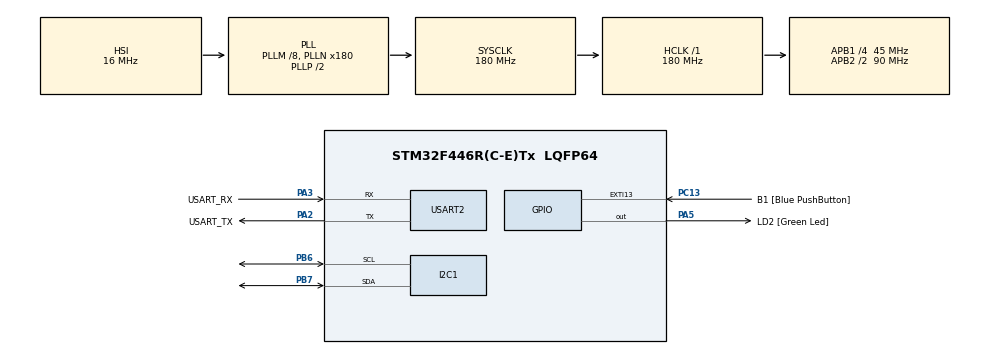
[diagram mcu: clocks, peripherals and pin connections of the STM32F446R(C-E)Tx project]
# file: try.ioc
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Mcu.Family=STM32F4
Mcu.Name=STM32F446R(C-E)Tx
Mcu.Package=LQFP64
NVIC.PriorityGroup=NVIC_PRIORITYGROUP_0
PA13.GPIO_Label=TMS
PA13.Mode=Serial_Wire
PA13.Signal=SYS_JTMS-SWDIO
PA14.GPIO_Label=TCK
PA14.Mode=Serial_Wire
PA14.Signal=SYS_JTCK-SWCLK
PA2.GPIO_Label=USART_TX
PA2.Mode=Asynchronous
PA2.Signal=USART2_TX
PA3.GPIO_Label=USART_RX
PA3.Mode=Asynchronous
PA3.Signal=USART2_RX
PA5.GPIO_Label=LD2 [Green Led]
PA5.Signal=GPIO_Output
PB3.GPIO_Label=SWO
PB3.Signal=SYS_JTDO-SWO
PB6.Mode=I2C
PB6.Signal=I2C1_SCL
PB7.Mode=I2C
PB7.Signal=I2C1_SDA
PC13.GPIO_Label=B1 [Blue PushButton]
PC13.GPIO_ModeDefaultEXTI=GPIO_MODE_IT_FALLING
PC13.Signal=GPXTI13
PC14-OSC32_IN.Mode=LSE-External-Oscillator
PC14-OSC32_IN.Signal=RCC_OSC32_IN
PC15-OSC32_OUT.Mode=LSE-External-Oscillator
PC15-OSC32_OUT.Signal=RCC_OSC32_OUT
PH0-OSC_IN.Mode=HSE-External-Oscillator
PH0-OSC_IN.Signal=RCC_OSC_IN
PH1-OSC_OUT.Mode=HSE-External-Oscillator
PH1-OSC_OUT.Signal=RCC_OSC_OUT
ProjectManager.HeapSize=0x200
ProjectManager.StackSize=0x400
ProjectManager.TargetToolchain=STM32CubeIDE
RCC.48MHZClocksFreq_Value=84000000
RCC.AHBFreq_Value=180000000
RCC.APB1CLKDivider=RCC_HCLK_DIV4
RCC.APB1Freq_Value=45000000
RCC.APB1TimFreq_Value=90000000
RCC.APB2CLKDivider=RCC_HCLK_DIV2
RCC.APB2Freq_Value=90000000
RCC.APB2TimFreq_Value=180000000
RCC.CortexFreq_Value=180000000
RCC.FLatency-AdvancedSettings=FLASH_LATENCY_5
RCC.HCLKFreq_Value=180000000
RCC.HSE_VALUE=8000000
RCC.HSI_VALUE=16000000
RCC.PLLM=8
RCC.PLLN=180
RCC.SYSCLKFreq_VALUE=180000000
RCC.SYSCLKSource=RCC_SYSCLKSOURCE_PLLCLK
RCC.USBFreq_Value=180000000
RCC.VCOOutputFreq_Value=360000000
USART2.VirtualMode=VM_ASYNC
board=NUCLEO-F446RE

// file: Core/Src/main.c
/* USER CODE BEGIN Header */
/**
  ******************************************************************************
  * @file           : main.c
  * @brief          : Main program body
  ******************************************************************************
  * @attention
  *
  * Copyright (c) 2024 STMicroelectronics.
  * All rights reserved.
  *
  * This software is licensed under terms that can be found in the LICENSE file
  * in the root directory of this software component.
  * If no LICENSE file comes with this software, it is provided AS-IS.
  *
  ******************************************************************************
  */
/* USER CODE END Header */
#include "main.h"

/* USER CODE BEGIN PD */
#define  DS3231_ADDRESS 0x68<<1
/* USER CODE END PD */

I2C_HandleTypeDef hi2c1;

UART_HandleTypeDef huart2;

void SystemClock_Config(void);
static void MX_GPIO_Init(void);
static void MX_USART2_UART_Init(void);
static void MX_I2C1_Init(void);
/* USER CODE BEGIN PFP */

uint8_t BCD2DEC(uint8_t val);
uint8_t DEC2BCD(uint8_t val);
void DS3231_GetTime(uint8_t* hour, uint8_t* minute, uint8_t* second);
uint8_t hour, minute, second;

/* USER CODE END PFP */

int main(void)
{

  /* MCU Configuration--------------------------------------------------------*/

  /* Reset of all peripherals, Initializes the Flash interface and the Systick. */
  HAL_Init();

  /* Configure the system clock */
  SystemClock_Config();

  /* Initialize all configured peripherals */
  MX_GPIO_Init();
  MX_USART2_UART_Init();
  MX_I2C1_Init();
  /* USER CODE BEGIN 2 */

  DS3231_GetTime(&hour, &minute, &second);
  HAL_Delay(1000);  // Delay for 1 second
  /* USER CODE END 2 */

  /* Infinite loop */
  while (1)
  {

    /* USER CODE BEGIN 3 */
	  HAL_GPIO_TogglePin(LD2_GPIO_Port, LD2_Pin);
	  HAL_Delay(200);
  }
  /* USER CODE END 3 */
}

void SystemClock_Config(void)
{
  RCC_OscInitTypeDef RCC_OscInitStruct = {0};
  RCC_ClkInitTypeDef RCC_ClkInitStruct = {0};

  /** Configure the main internal regulator output voltage
  */
  __HAL_RCC_PWR_CLK_ENABLE();
  __HAL_PWR_VOLTAGESCALING_CONFIG(PWR_REGULATOR_VOLTAGE_SCALE1);

  /** Initializes the RCC Oscillators according to the specified parameters
  * in the RCC_OscInitTypeDef structure.
  */
  RCC_OscInitStruct.OscillatorType = RCC_OSCILLATORTYPE_HSI;
  RCC_OscInitStruct.HSIState = RCC_HSI_ON;
  RCC_OscInitStruct.HSICalibrationValue = RCC_HSICALIBRATION_DEFAULT;
  RCC_OscInitStruct.PLL.PLLState = RCC_PLL_ON;
  RCC_OscInitStruct.PLL.PLLSource = RCC_PLLSOURCE_HSI;
  RCC_OscInitStruct.PLL.PLLM = 8;
  RCC_OscInitStruct.PLL.PLLN = 180;
  RCC_OscInitStruct.PLL.PLLP = RCC_PLLP_DIV2;
  RCC_OscInitStruct.PLL.PLLQ = 2;
  RCC_OscInitStruct.PLL.PLLR = 2;
  if (HAL_RCC_OscConfig(&RCC_OscInitStruct) != HAL_OK)
  {
    Error_Handler();
  }

  /** Activate the Over-Drive mode
  */
  if (HAL_PWREx_EnableOverDrive() != HAL_OK)
  {
    Error_Handler();
  }

  /** Initializes the CPU, AHB and APB buses clocks
  */
  RCC_ClkInitStruct.ClockType = RCC_CLOCKTYPE_HCLK|RCC_CLOCKTYPE_SYSCLK
                              |RCC_CLOCKTYPE_PCLK1|RCC_CLOCKTYPE_PCLK2;
  RCC_ClkInitStruct.SYSCLKSource = RCC_SYSCLKSOURCE_PLLCLK;
  RCC_ClkInitStruct.AHBCLKDivider = RCC_SYSCLK_DIV1;
  RCC_ClkInitStruct.APB1CLKDivider = RCC_HCLK_DIV4;
  RCC_ClkInitStruct.APB2CLKDivider = RCC_HCLK_DIV2;

  if (HAL_RCC_ClockConfig(&RCC_ClkInitStruct, FLASH_LATENCY_5) != HAL_OK)
  {
    Error_Handler();
  }
}

static void MX_I2C1_Init(void)
{

  hi2c1.Instance = I2C1;
  hi2c1.Init.ClockSpeed = 100000;
  hi2c1.Init.DutyCycle = I2C_DUTYCYCLE_2;
  hi2c1.Init.OwnAddress1 = 0;
  hi2c1.Init.AddressingMode = I2C_ADDRESSINGMODE_7BIT;
  hi2c1.Init.DualAddressMode = I2C_DUALADDRESS_DISABLE;
  hi2c1.Init.OwnAddress2 = 0;
  hi2c1.Init.GeneralCallMode = I2C_GENERALCALL_DISABLE;
  hi2c1.Init.NoStretchMode = I2C_NOSTRETCH_DISABLE;
  if (HAL_I2C_Init(&hi2c1) != HAL_OK)
  {
    Error_Handler();
  }

}

static void MX_USART2_UART_Init(void)
{

  huart2.Instance = USART2;
  huart2.Init.BaudRate = 115200;
  huart2.Init.WordLength = UART_WORDLENGTH_8B;
  huart2.Init.StopBits = UART_STOPBITS_1;
  huart2.Init.Parity = UART_PARITY_NONE;
  huart2.Init.Mode = UART_MODE_TX_RX;
  huart2.Init.HwFlowCtl = UART_HWCONTROL_NONE;
  huart2.Init.OverSampling = UART_OVERSAMPLING_16;
  if (HAL_UART_Init(&huart2) != HAL_OK)
  {
    Error_Handler();
  }

}

static void MX_GPIO_Init(void)
{
  GPIO_InitTypeDef GPIO_InitStruct = {0};

  /* GPIO Ports Clock Enable */
  __HAL_RCC_GPIOC_CLK_ENABLE();
  __HAL_RCC_GPIOH_CLK_ENABLE();
  __HAL_RCC_GPIOA_CLK_ENABLE();
  __HAL_RCC_GPIOB_CLK_ENABLE();

  /*Configure GPIO pin Output Level */
  HAL_GPIO_WritePin(LD2_GPIO_Port, LD2_Pin, GPIO_PIN_RESET);

  /*Configure GPIO pin : B1_Pin */
  GPIO_InitStruct.Pin = B1_Pin;
  GPIO_InitStruct.Mode = GPIO_MODE_IT_FALLING;
  GPIO_InitStruct.Pull = GPIO_NOPULL;
  HAL_GPIO_Init(B1_GPIO_Port, &GPIO_InitStruct);

  /*Configure GPIO pin : LD2_Pin */
  GPIO_InitStruct.Pin = LD2_Pin;
  GPIO_InitStruct.Mode = GPIO_MODE_OUTPUT_PP;
  GPIO_InitStruct.Pull = GPIO_NOPULL;
  GPIO_InitStruct.Speed = GPIO_SPEED_FREQ_LOW;
  HAL_GPIO_Init(LD2_GPIO_Port, &GPIO_InitStruct);

}

/* USER CODE BEGIN 4 */
uint8_t BCD2DEC(uint8_t val)
{
  return ((val / 16 * 10) + (val % 16));
}

uint8_t DEC2BCD(uint8_t val)
{
  return ((val / 10 * 16) + (val % 10));
}

void DS3231_GetTime(uint8_t* hour, uint8_t* minute, uint8_t* second)
{
  uint8_t time[3];

  // Start from the seconds register (0x00)
  uint8_t reg = 0x00;
  if((HAL_I2C_Master_Transmit(&hi2c1, DS3231_ADDRESS, &reg, 1, HAL_MAX_DELAY))== HAL_BUSY)
  {
	  HAL_GPIO_TogglePin(LD2_GPIO_Port, LD2_Pin);
	  HAL_Delay(500);

  }else{
	  HAL_GPIO_TogglePin(LD2_GPIO_Port, LD2_Pin);
	  HAL_Delay(100);
  }

  // Read 3 bytes (seconds, minutes, hours)
  HAL_I2C_Master_Receive(&hi2c1, DS3231_ADDRESS, time,3 , HAL_MAX_DELAY);

  // Convert BCD to decimal
  *second = BCD2DEC(time[0]);
  *minute = BCD2DEC(time[1]);
  *hour = BCD2DEC(time[2]);
}

/* USER CODE END 4 */

void Error_Handler(void)
{
  __disable_irq();
  while (1)
  {
  }
}
